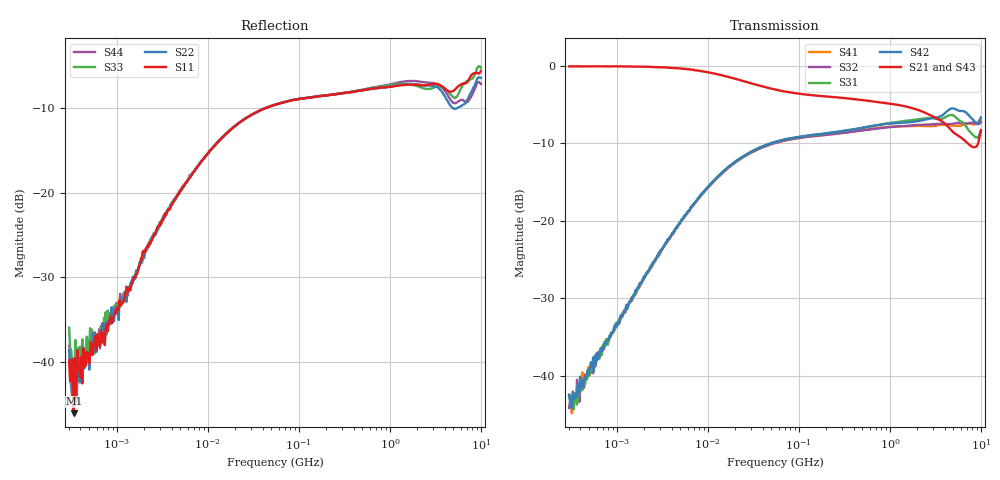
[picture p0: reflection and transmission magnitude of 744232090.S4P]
! This data is being provided by Wuerth Elektronik eiSos GmbH & Co. KG to the industry for analysis.
! Document information:
! Version:rev19a Date: 16/12/2019
! Component information:
! Match Code: WE-CNSW P/N: 744232090 Size: 1206
! Disclaimer:  While Würth Elektronik eiSos has made every reasonable effort to ensure the accuracy
! of the information provided, Würth Elektronik eiSos does not guarantee the exemption of error on the
! data collection measurements, nor does Würth Elektronik eiSos guarantee that the information is current.
! Würth Elektronik eiSos reserves the right to make any adjustments at any time without notice.
! Würth Elektronik eiSos expressly disclaims all implied warranties regarding this measurement data collection.
! Note 1  This data measurement is representative according to the product implementation into the fixture.
! Component behavior is sensitive to implementation into the fixture, which includes board
! materials, trace geometry information, connector pin out, layer connection, use of de-embedding
! techniques, etc.
! Note 2 - The fixture was designed specifically to match the 50 Ohm line impedance, as well as the connector impedance,
! in order to accomplish a reliable measurement without reflections in the trace. Any other implementation of the fixture will change the obtained
! measurement performance. The used fixture behavior was de-embedded to accomplish reliable measurement results.
! The test setup consisted of the following:
!  - Agilent VNA E5071C or E5071B
!  - Calibrations are SOLT (short open load thru)
!  - De-embedding of the SMA's or line cards were included
!  - Equipment Settings -
!  - Sampling - 501 points
!  - IF BW  70 kHz
!  - Averaging  Not used
!  Port 1----->|1|  |2| -----> Port 3
!  |  DUT  |
!  Port 2----->|3|  |4| -----> Port 4
!*VNA Port --> |Port in Datasheet|
! |Port in Datasheet| --> VNA Port
! For further information regarding this testing, please contact
! Wuerth Elektronik eiSos
! Contact: EDA team in QDC
! Email: libraries@we-online.com or libraries@we-online.de
# Hz S dB R 50
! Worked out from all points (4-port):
!   501 points, 300 kHz to 10 GHz, reference 50 ohm
!   strongest paths, dB at 300 kHz, 4.054 MHz, 54.77 MHz, 740.1 MHz, 10 GHz:
!     S21: 0.0, -0.2, -3.0, -4.6, -8.3
!     S43: 0.0, -0.3, -3.0, -4.7, -7.9
!     S42: -42.5, -21.6, -9.8, -7.6, -6.6
!     S31: -42.6, -21.7, -9.8, -7.6, -8.4
!     S32: -44.2, -21.8, -9.9, -8.1, -7.2
!     S41: -42.6, -21.9, -9.9, -8.0, -6.9
!   lowest |S11| = -46.1 dB at 336.7 kHz (marker M1), VSWR 1.01, Z = 50.1 + j0.491 ohm
!   |S11| at or under -10 dB: start of sweep to 42.5 MHz
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300000  -39.83 74.5  -0.03 -0.2  -44.82 87.6  -42.23 -90.0
        -0.03 -0.6  -38.62 103.5  -43.86 -99.5  -45.17 71.5
        -42.58 86.7  -44.19 -97.2  -35.96 87.3  -0.05 -0.6
        -42.60 -80.9  -42.46 86.0  -0.05 -0.6  -38.10 81.8
336674  -46.09 81.8  -0.04 -0.4  -42.15 92.7  -43.84 -96.0
        -0.04 -0.4  -43.58 62.5  -42.31 -83.5  -42.03 81.5
        -44.37 90.3  -42.98 -83.6  -39.67 55.6  -0.08 -0.5
        -43.02 -94.2  -42.78 85.5  -0.08 -0.5  -40.44 75.0
2.253583e7  -11.66 37.4  -1.80 -11.8  -11.91 38.2  -12.03 -142.7
            -1.81 -11.8  -11.64 37.2  -12.03 -142.7  -11.93 38.2
            -11.93 38.2  -12.04 -142.6  -11.64 36.8  -1.83 -11.7
            -12.04 -142.7  -11.94 38.3  -1.83 -11.7  -11.64 36.8
8.104828e8  -7.55 -1.1  -4.71 -26.9  -7.52 2.2  -7.95 158.2
            -4.70 -26.8  -7.56 -1.8  -7.99 157.5  -7.55 2.2
            -7.52 2.3  -8.00 157.6  -7.41 -1.7  -4.81 -27.1
            -7.95 158.2  -7.55 2.2  -4.81 -27.1  -7.36 -1.0
3.084974e9  -7.09 -22.0  -6.60 -86.0  -6.80 -18.9  -7.69 83.2
            -6.60 -85.9  -7.37 -30.6  -7.50 80.4  -6.73 -13.1
            -6.79 -18.7  -7.51 80.4  -7.51 -24.2  -6.54 -85.5
            -7.71 83.3  -6.70 -13.1  -6.54 -85.6  -7.02 -27.1
6.518538e9  -7.06 -36.6  -9.53 -174.9  -7.47 -53.5  -7.52 -5.7
            -9.53 -174.7  -9.52 -42.6  -7.38 -9.3  -5.85 -48.7
            -7.46 -53.4  -7.38 -9.2  -7.04 -35.7  -9.45 -172.5
            -7.52 -5.4  -5.86 -48.8  -9.45 -172.6  -9.09 -39.5
1e10  -5.57 -66.9  -8.30 98.0  -8.37 -80.0  -6.93 -92.0
      -8.28 98.4  -6.41 -56.6  -7.23 -90.3  -6.60 -81.9
      -8.39 -79.7  -7.25 -90.2  -5.21 -56.4  -7.96 103.3
      -6.92 -91.6  -6.63 -81.8  -7.92 103.3  -7.11 -51.8
